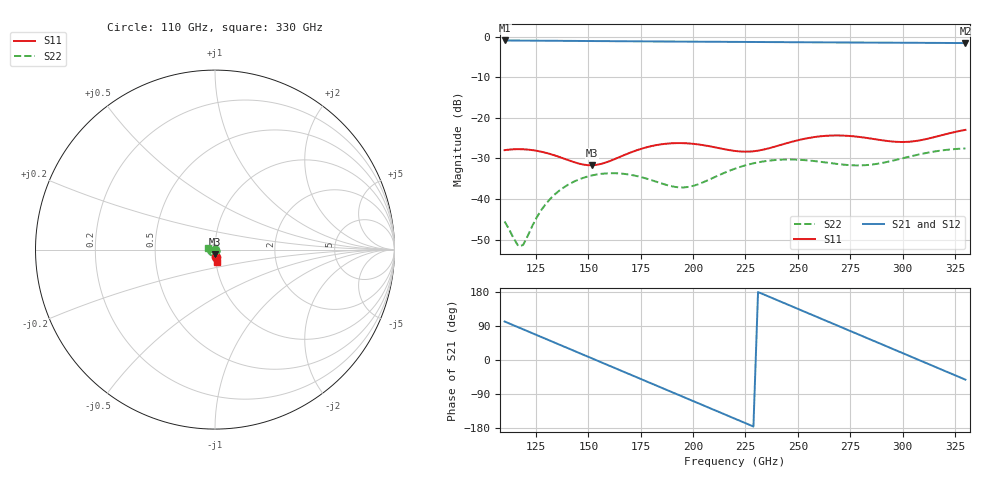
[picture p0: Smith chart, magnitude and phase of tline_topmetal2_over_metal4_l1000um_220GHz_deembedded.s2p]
! Created with skrf 2.0.1 (http://scikit-rf.org).
# GHz S DB R 50.0
!freq dBS11 angS11 dBS21 angS21 dBS12 angS12 dBS22 angS22
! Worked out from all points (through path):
!   101 points, 110 GHz to 330 GHz, reference 50 ohm
!   highest |S21| = -0.94 dB at 110 GHz (marker M1); lowest = -1.6 dB at 330 GHz (marker M2)
!   group delay of S21, straight-line fit = 6.48 ps
!   lowest |S11| = -31.7 dB at 151.8 GHz (marker M3), VSWR 1.05, Z = 49.8 - j2.59 ohm
!   |S11| at or under -10 dB: start of sweep to end of sweep
!   |S22| runs from -51.6 to -27.6 dB; largest |S21 - S12| = 1.5e-14
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110  -27.97 -83.1  -0.94 101.6  -0.94 101.6  -45.55 -116.5
116.6  -27.72 -91.6  -0.96 86.2  -0.96 86.2  -51.63 -84.6
118.8  -27.75 -94.3  -0.97 81.1  -0.97 81.1  -51.36 -58.5
125.4  -28.14 -101.4  -0.99 65.7  -0.99 65.7  -44.48 -30.3
132  -28.96 -106.3  -1.01 50.3  -1.01 50.3  -39.86 -37.7
147.4  -31.51 -99.9  -1.07 14.3  -1.07 14.3  -34.82 -76.0
151.8  -31.69 -92.9  -1.08 4.1  -1.08 4.1  -34.19 -88.9
167.2  -29.16 -77.4  -1.13 -31.9  -1.13 -31.9  -33.83 -139.6
184.8  -26.53 -85.8  -1.19 -72.9  -1.19 -72.9  -36.15 144.2
193.6  -26.23 -92.8  -1.22 -93.4  -1.22 -93.4  -37.15 92.2
202.4  -26.56 -98.3  -1.24 -113.9  -1.24 -113.9  -36.38 36.4
220  -28.17 -96.5  -1.29 -155.0  -1.29 -155.0  -32.53 -52.4
228.8  -28.25 -88.2  -1.31 -175.5  -1.31 -175.5  -31.22 -89.0
237.6  -27.31 -81.4  -1.34 163.9  -1.34 163.9  -30.48 -124.2
257.4  -24.78 -84.1  -1.40 117.7  -1.40 117.7  -30.63 153.5
266.2  -24.37 -89.2  -1.42 97.2  -1.42 97.2  -31.20 112.6
275  -24.49 -93.9  -1.44 76.6  -1.44 76.6  -31.67 67.8
283.8  -25.03 -96.1  -1.46 56.1  -1.46 56.1  -31.61 20.2
294.8  -25.83 -92.9  -1.49 30.4  -1.49 30.4  -30.62 -37.9
303.6  -25.88 -86.1  -1.51 9.8  -1.51 9.8  -29.53 -80.6
312.4  -25.11 -80.1  -1.53 -10.7  -1.53 -10.7  -28.56 -120.3
330  -22.97 -80.7  -1.58 -51.8  -1.58 -51.8  -27.55 164.7
